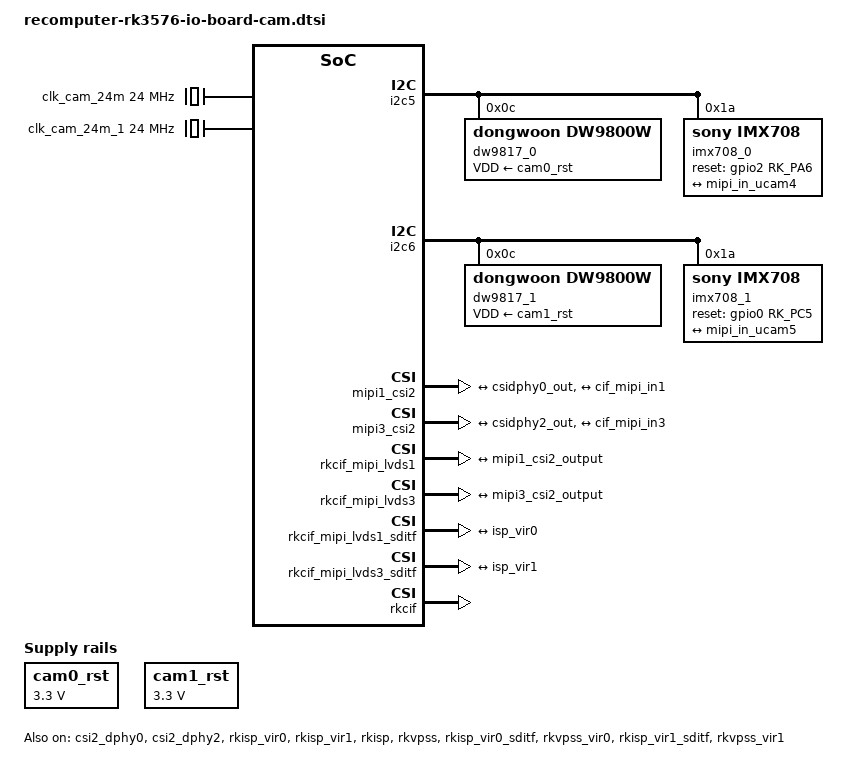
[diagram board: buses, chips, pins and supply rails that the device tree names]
// SPDX-License-Identifier: (GPL-2.0+ OR MIT)
/*
 * Copyright (c) 2024 Luckfox Technology Co., Ltd.
 *
 */

/ {

/*     cam0_pwr: cam0-pwr { */
/*         status = "disabled"; */
/*         compatible = "regulator-fixed"; */
/*         regulator-name = "cam0_pwr"; */
/*         regulator-min-microvolt = <3300000>; */
/*         regulator-max-microvolt = <3300000>; */
/*         enable-active-high; */
/*         gpio = <&gpio_xten  0  GPIO_ACTIVE_HIGH>; */
/*         regulator-boot-on; */
/*         regulator-always-on; */
/*     }; */

    cam1_pwr: cam1-pwr {
        status = "disabled";
        compatible = "regulator-fixed";
        regulator-name = "cam1_pwr";
        regulator-min-microvolt = <3300000>;
        regulator-max-microvolt = <3300000>;
        enable-active-high;
        gpio = <&gpio1  RK_PD1  GPIO_ACTIVE_HIGH>; 
        regulator-boot-on;         
        regulator-always-on;        
    };
    

	cam0_rst: cam0-rst {
		compatible = "regulator-fixed";
		regulator-name = "cam0_pwr";
		regulator-min-microvolt = <3300000>;
		regulator-max-microvolt = <3300000>;
		regulator-always-on;
	};

	cam1_rst: cam1-rst {
		compatible = "regulator-fixed";
		regulator-name = "cam1_pwr";
		regulator-min-microvolt = <3300000>;
		regulator-max-microvolt = <3300000>;
		regulator-always-on;
	};

    clk_cam_24m: external-camera-clock-24m {
        status = "okay";
        compatible = "fixed-clock";
        clock-frequency = <24000000>;
        clock-output-names = "clk_cam_24m";
        #clock-cells = <0>;
    };

    clk_cam_24m_1: external-camera-clock-24m-1 {
        status = "okay";
        compatible = "fixed-clock";
        clock-frequency = <24000000>;
        clock-output-names = "clk_cam_24m_1";
        #clock-cells = <0>;
    };

};

// cam0: i2c5
&i2c5 {
	status = "okay";
	pinctrl-0 = <&i2c5m2_xfer>;

    imx219_0: imx219@10 {
        status = "disabled";
        compatible = "sony,imx219";
        reg = <0x10>;
        clocks = <&clk_cam_24m>;
        clock-names = "xvclk";
        /* vana-supply = <&cam0_pwr>; */
        rockchip,camera-module-index = <0>;
        rockchip,camera-module-facing = "back";
        rockchip,camera-module-name = "rpi-camera-v2";
        rockchip,camera-module-lens-name = "default";

        port {
            imx219_out0: endpoint {
                remote-endpoint = <&mipi_in_ucam2>;
                data-lanes = <1 2>;					
            };
        };
    };


	dw9817_0: dw9817@c {
		compatible = "dongwoon,dw9800w";
		status = "okay";
		reg = <0x0c>;
		VDD-supply = <&cam0_rst>;
		/* power-supply = <&cam0_pwr>; */
		rockchip,camera-module-index = <0>;
		rockchip,vcm-start-current = <10>;
		rockchip,vcm-rated-current = <85>;
		rockchip,vcm-step-mode = <5>;
		rockchip,camera-module-facing = "back";

	};

	imx708_0: imx708@1a {
		status = "okay";
		compatible = "sony,imx708";
		reg = <0x1a>;
		clocks = <&clk_cam_24m>;
		clock-names = "xclk";
		/* vana1-supply = <&cam0_pwr>; */
		pinctrl-names = "default";

		reset-gpios = <&gpio2 RK_PA6 GPIO_ACTIVE_HIGH>;
		rockchip,camera-module-index = <0>;
		rockchip,camera-module-facing = "front";
		rockchip,camera-module-name = "rpi-camera-v3";
		rockchip,camera-module-lens-name = "default";
		lens-focus = <&dw9817_0>;
		port {
            imx708_out0: endpoint {
                remote-endpoint = <&mipi_in_ucam4>;
                data-lanes = <1 2>;
                link-frequencies = /bits/ 64 <450000000>;
            };
		};
	};
};

// cam1: i2c6
&i2c6 {
	status = "okay";

    imx219_1: imx219@10 {
        status = "disabled";
        compatible = "sony,imx219";
        reg = <0x10>;

        clocks = <&clk_cam_24m_1>;
        clock-names = "xvclk";
        vana-supply = <&cam1_pwr>;
       	rockchip,camera-module-index = <1>;
        rockchip,camera-module-facing = "back";
        rockchip,camera-module-name = "rpi-camera-v2";
        rockchip,camera-module-lens-name = "default";

        port {
            imx219_out1: endpoint {
                remote-endpoint = <&mipi_in_ucam3>;
                data-lanes = <1 2>;					
            };
        };
    };

 /**************raspberry pi cam v3**************/
	dw9817_1: dw9817@c {
		compatible = "dongwoon,dw9800w";
		status = "okay";
		reg = <0x0c>;
		VDD-supply = <&cam1_rst>;
		/* power-supply = <&cam1_pwr>; */
		rockchip,camera-module-index = <1>;
		rockchip,vcm-start-current = <10>;
		rockchip,vcm-rated-current = <85>;
		rockchip,vcm-step-mode = <5>;
		rockchip,camera-module-facing = "back";

	};

	imx708_1: imx708@1a {
		status = "okay";
		compatible = "sony,imx708";
		reg = <0x1a>;
		clocks = <&clk_cam_24m_1>;
		clock-names = "xclk";
		reset-gpios = <&gpio0 RK_PC5 GPIO_ACTIVE_HIGH>;
		/* vana1-supply = <&cam1_pwr>; */
		pinctrl-names = "default";
		rockchip,camera-module-index = <1>;
		rockchip,camera-module-facing = "front";
		rockchip,camera-module-name = "rpi-camera-v3";
		rockchip,camera-module-lens-name = "default";
		lens-focus = <&dw9817_1>;
		port {
            imx708_out1: endpoint {
                remote-endpoint = <&mipi_in_ucam5>;
                data-lanes = <1 2>;
                link-frequencies = /bits/ 64 <450000000>;
				
            };
		};
	};
};

/*-----------------------------------------------------------------------*/

&csi2_dphy0 {
	status = "okay";

	ports {
		#address-cells = <1>;
		#size-cells = <0>;
		port@0 {
			reg = <0>;
			#address-cells = <1>;
			#size-cells = <0>;

			mipi_in_ucam2: endpoint@2 {
				reg = <2>;
				remote-endpoint = <&imx219_out0>;
				data-lanes = <1 2>;
			};

			mipi_in_ucam4: endpoint@3 {
				reg = <3>;
				remote-endpoint = <&imx708_out0>;
				data-lanes = <1 2>;
			};

		};
		port@1 {
			reg = <1>;
			#address-cells = <1>;
			#size-cells = <0>;

			csidphy0_out: endpoint@0 {
				reg = <0>;
				remote-endpoint = <&mipi1_csi2_input>;
			};
		};
	};
};

&csi2_dphy2 {
	status = "okay";

	ports {
		#address-cells = <1>;
		#size-cells = <0>;
		port@0 {
			reg = <0>;
			#address-cells = <1>;
			#size-cells = <0>;

			mipi_in_ucam3: endpoint@2 {
				reg = <2>;
				remote-endpoint = <&imx219_out1>;
				data-lanes = <1 2>;
			};
			mipi_in_ucam5: endpoint@3 {
				reg = <3>;
				remote-endpoint = <&imx708_out1>;
				data-lanes = <1 2>;
			};
		};
		port@1 {
			reg = <1>;
			#address-cells = <1>;
			#size-cells = <0>;

			csidphy2_out: endpoint@0 {
				reg = <0>;
				remote-endpoint = <&mipi3_csi2_input>;
			};
		};
	};
};

&csi2_dphy3 {
    status = "disabled";
};

/*-----------------------------------------------------------------------*/

&mipi1_csi2 {
	status = "okay";

	ports {
		#address-cells = <1>;
		#size-cells = <0>;

		port@0 {
			reg = <0>;
			#address-cells = <1>;
			#size-cells = <0>;

			mipi1_csi2_input: endpoint@1 {
				reg = <1>;
				remote-endpoint = <&csidphy0_out>;
			};
		};

		port@1 {
			reg = <1>;
			#address-cells = <1>;
			#size-cells = <0>;

			mipi1_csi2_output: endpoint@0 {
				reg = <0>;
				remote-endpoint = <&cif_mipi_in1>;
			};
		};
	};
};

&mipi3_csi2 {
	status = "okay";

	ports {
		#address-cells = <1>;
		#size-cells = <0>;

		port@0 {
			reg = <0>;
			#address-cells = <1>;
			#size-cells = <0>;

			mipi3_csi2_input: endpoint@1 {
				reg = <1>;
				remote-endpoint = <&csidphy2_out>;
			};
		};

		port@1 {
			reg = <1>;
			#address-cells = <1>;
			#size-cells = <0>;

			mipi3_csi2_output: endpoint@0 {
				reg = <0>;
				remote-endpoint = <&cif_mipi_in3>;
			};
		};
	};
};

/*-----------------------------------------------------------------------*/

&rkcif_mipi_lvds1 {
	status = "okay";

	port {
		cif_mipi_in1: endpoint {
			remote-endpoint = <&mipi1_csi2_output>;
		};
	};
};

&rkcif_mipi_lvds3 {
	status = "okay";

	port {
		cif_mipi_in3: endpoint {
			remote-endpoint = <&mipi3_csi2_output>;
		};
	};
};

/*-----------------------------------------------------------------------*/

&rkcif_mipi_lvds1_sditf {
	status = "okay";

	port {
		mipi_lvds1_sditf: endpoint {
			remote-endpoint = <&isp_vir0>;
		};
	};
};

&rkcif_mipi_lvds3_sditf {
	status = "okay";

	port {
		mipi_lvds3_sditf: endpoint {
			remote-endpoint = <&isp_vir1>;
		};
	};
};

/*-----------------------------------------------------------------------*/

&rkisp_vir0 {
	status = "okay";

	port {
		#address-cells = <1>;
		#size-cells = <0>;

		isp_vir0: endpoint@0 {
			reg = <0>;
			remote-endpoint = <&mipi_lvds1_sditf>;
		};
	};
};

&rkisp_vir1 {
	status = "okay";

	port {
		#address-cells = <1>;
		#size-cells = <0>;

		isp_vir1: endpoint@0 {
			reg = <0>;
			remote-endpoint = <&mipi_lvds3_sditf>;
		};
	};
};

/*-----------------------------------------------------------------------*/

&rkcif {
	status = "okay";
};

&rkcif_mmu {
	status = "okay";
};

&rkisp {
	status = "okay";
};

&rkisp_mmu {
	status = "okay";
};

&rkvpss {
	status = "okay";
};

&rkvpss_mmu {
	status = "okay";
};


&rkisp_vir0_sditf {
	status = "okay";
};

&rkvpss_vir0 {
	status = "okay";
};

&rkisp_vir1_sditf {
    status = "okay";
};

&rkvpss_vir1 {
    status = "okay";
};
/*-----------------------------------------------------------------------*/
